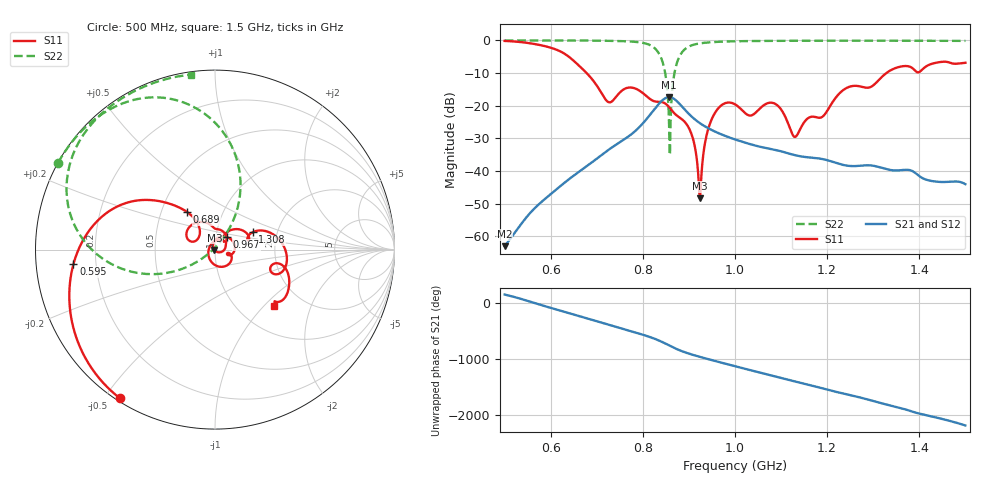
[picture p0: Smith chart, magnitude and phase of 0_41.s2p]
! TOUCHSTONE file generated by CST MICROWAVE STUDIO
! Date and time: Mon Sep 28 15:30:49 2020
! Project name: Scenario_1_Free_SPace.cst
! Parameters = {dx1=866; L_HA=400; MT=2.54; Rad_Dielectric=30; Rad_Lower=7.3; Rad_Upper=30; a_HA=580; a_WG=246; b_HA=500; b_WG=121; c_HA=0; c_WG=187; d_feed=85; h_feed=15; h_lower=18; h_upper=40}
! Header version: 2018
! Port assignment regex: !\s*Touchstone port\s*([0-9]+)\s*=\s*(CST MWS port|CST DS port)\s*([0-9]+|Zmin|Zmax)\s*\(\"(.*)\"\)(\s*mode\s*([0-9]+))?.*
! Touchstone port assignment:
! Touchstone port 1 = CST MWS port 1 ("")
! Touchstone port 2 = CST MWS port 2 ("")
# GHz S DB R 50
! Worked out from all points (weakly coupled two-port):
!   1003 points, 500 MHz to 1.5 GHz, reference 50 ohm
!   highest |S21| = -17.36 dB at 857 MHz (marker M1); lowest = -63.0 dB at 500 MHz (marker M2)
!   lowest |S11| = -48.4 dB at 924 MHz (marker M3), VSWR 1.01, Z = 49.7 - j0.194 ohm
!   |S11| at or under -10 dB: 678 MHz to 1.328 GHz (650.4 MHz wide, 64.8 % of centre)
!   |S22| runs from -35.1 to 0.0 dB; largest |S21 - S12| = 5.4e-05
!   S11 on the Smith chart (normalised r, x): 500 MHz: 0.01, -0.55; 595 MHz: 0.12, -0.05; 689 MHz: 0.68, +0.30; 967 MHz: 1.13, +0.16; 1.308 GHz: 1.49, +0.31; 1.5 GHz: 1.43, -1.14
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0.5  -0.15 -122.6  -63.01 143.7  -63.01 143.7  -0.01 151.1
0.595  -2.02 -174.2  -47.66 -80.6  -47.66 -80.6  -0.02 144.5
0.667  -8.46 136.2  -39.66 108.6  -39.66 108.6  -0.04 138.3
0.689  -11.72 126.5  -37.39 57.2  -37.39 57.2  -0.06 136.0
0.726  -18.93 143.3  -33.44 -31.6  -33.44 -31.6  -0.12 131.3
0.772  -14.42 139.1  -29.08 -142.2  -29.08 -142.2  -0.32 122.5
0.834  -18.80 83.1  -19.54 50.9  -19.54 50.9  -3.78 85.4
0.848  -19.27 63.3  -17.75 -1.9  -17.75 -1.9  -9.63 65.2
0.857  -20.42 48.7  -17.36 -38.6  -17.36 -38.6  -26.13 56.4
0.878  -23.45 25.5  -19.17 -119.4  -19.17 -119.4  -5.34 -169.1
0.906  -28.85 -22.7  -23.34 160.1  -23.34 160.1  -1.51 165.0
0.924  -48.37 -149.1  -25.36 117.5  -25.36 117.5  -0.90 156.5
0.941  -27.57 99.9  -26.82 79.3  -26.82 79.3  -0.62 151.1
0.967  -20.30 46.6  -28.57 22.5  -28.57 22.5  -0.40 145.4
1  -19.57 -7.9  -30.32 -47.9  -30.32 -47.9  -0.26 140.2
1.033  -23.02 -18.4  -31.77 -117.3  -31.77 -117.3  -0.19 136.2
1.087  -19.40 -61.5  -33.53 130.4  -33.53 130.5  -0.13 130.8
1.13  -29.56 155.6  -35.13 41.7  -35.14 41.8  -0.11 127.1
1.167  -23.36 46.3  -35.92 -32.5  -35.92 -32.5  -0.09 124.2
1.308  -12.72 24.8  -38.62 36.2  -38.62 36.2  -0.09 113.4
1.334  -9.46 14.4  -39.60 -18.5  -39.60 -18.5  -0.09 111.4
1.5  -6.85 -44.2  -44.04 -19.3  -44.10 -19.0  -0.14 97.9
